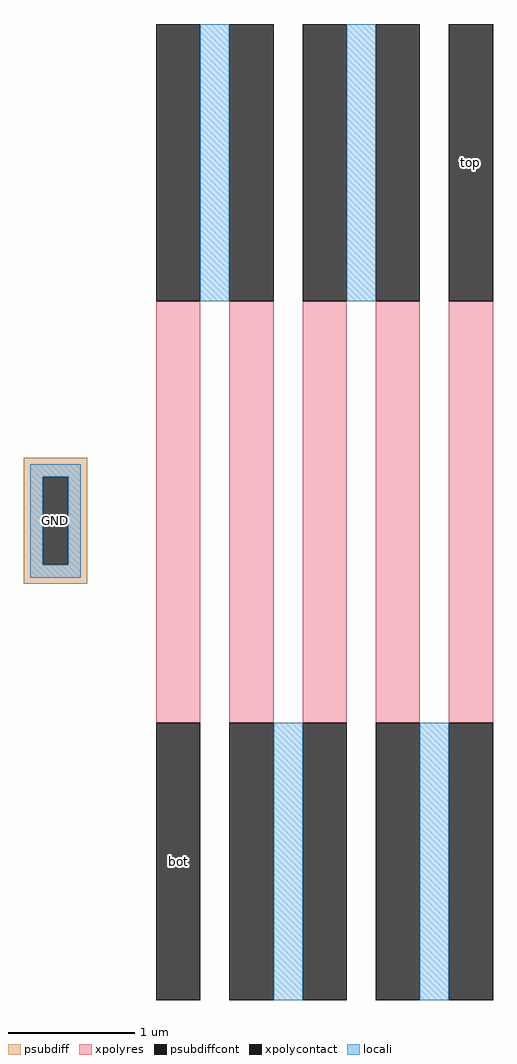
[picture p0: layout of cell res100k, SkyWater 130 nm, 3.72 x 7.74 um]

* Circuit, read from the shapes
.subckt res100k bot top
XR1 n1 bot GND sky130_fd_pr__res_xhigh_po w=0.35 l=3.34
XR2 n1 n2 GND sky130_fd_pr__res_xhigh_po w=0.35 l=3.34
XR3 n3 n2 GND sky130_fd_pr__res_xhigh_po w=0.35 l=3.34
XR4 n3 n4 GND sky130_fd_pr__res_xhigh_po w=0.35 l=3.34
XR5 top n4 GND sky130_fd_pr__res_xhigh_po w=0.35 l=3.34
.ends

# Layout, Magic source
magic
tech sky130A
<< psubdiff >>
rect -105 195 -55 210
rect -105 125 -90 195
rect -70 125 -55 195
rect -105 110 -55 125
<< psubdiffcont >>
rect -90 125 -70 195
<< xpolycontact >>
rect 0 334 35 554
rect 0 -220 35 0
rect 58 334 93 554
rect 58 -220 93 0
rect 116 334 151 554
rect 116 -220 151 0
rect 174 334 209 554
rect 174 -220 209 0
rect 232 334 267 554
rect 232 -220 267 0
<< xpolyres >>
rect 0 0 35 334
rect 58 0 93 334
rect 116 0 151 334
rect 174 0 209 334
rect 232 0 267 334
<< locali >>
rect 35 334 58 554
rect 151 334 174 554
rect -100 195 -60 205
rect -100 125 -90 195
rect -70 125 -60 195
rect -100 115 -60 125
rect 93 -220 116 0
rect 209 -220 232 0
<< labels >>
rlabel locali -100 115 -60 205 5 GND
rlabel locali 0 -220 35 0 5 bot
port 1 s
rlabel locali 232 334 267 554 1 top
port 2 n
<< end >>
